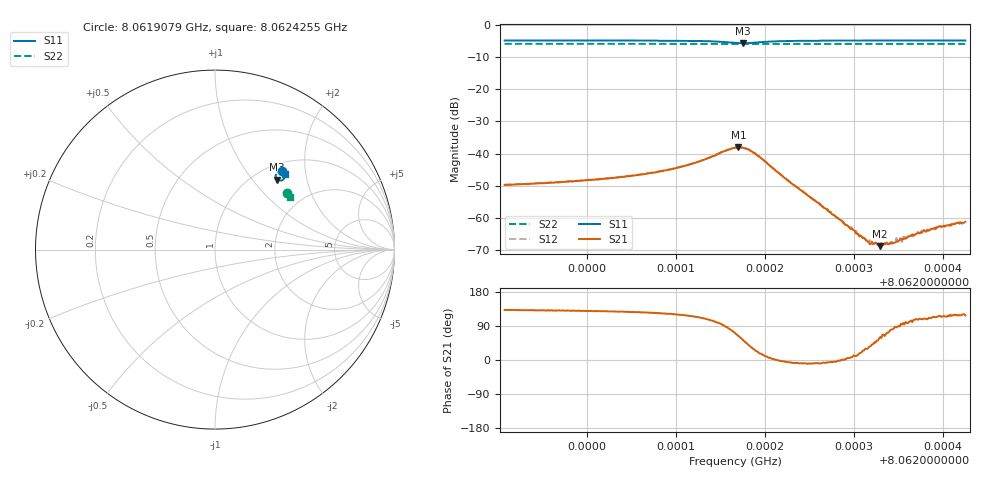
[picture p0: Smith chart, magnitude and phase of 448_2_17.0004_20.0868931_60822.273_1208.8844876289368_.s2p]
#  HZ  S  RI  R  50.00
! Rohde & Schwarz Vector Network Analyzer
! Rohde-Schwarz,ZNB20-2Port,1311601062101988,3.16
! Created: UTC 3/20/2024, 11:12:09 PM
! freq[Hz]  re:S11  im:S11  re:S21  im:S21  re:S12  im:S12  re:S22  im:S22
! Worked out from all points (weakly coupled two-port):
!   401 points, 8.0619079 GHz to 8.0624255 GHz, reference 50 ohm
!   highest |S21| = -38.03 dB at 8.0621706 GHz (marker M1); lowest = -68.9 dB at 8.0623297 GHz (marker M2)
!   lowest |S11| = -5.6 dB at 8.0621758 GHz (marker M3), VSWR 3.19, Z = 62.8 + j67.4 ohm
!   |S11| at or under -10 dB: nowhere
!   |S22| runs from -5.9 to -5.8 dB; largest |S21 - S12| = 0.00087
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8.06190792e9  0.3711 0.4405  -0.00218 0.00241  -0.00203 0.00253  0.4 0.3168
8.06199462e9  0.3776 0.4346  -0.0024 0.00293  -0.00226 0.00308  0.4034 0.3125
8.06203732e9  0.3811 0.4307  -0.00261 0.00339  -0.00245 0.00358  0.4049 0.3102
8.06208131e9  0.3853 0.4245  -0.0029 0.00437  -0.00265 0.00457  0.4065 0.3079
8.06211883e9  0.3889 0.4142  -0.00299 0.00628  -0.00263 0.0065  0.4078 0.3054
8.0621667e9  0.3633 0.3841  0.0039 0.0116  0.00476 0.0115  0.4078 0.3022
8.06217059e9  0.3561 0.3853  0.00559 0.0112  0.00624 0.0109  0.4076 0.3022
8.06217576e9  0.3469 0.3903  0.00756 0.00976  0.0081 0.00933  0.4074 0.3024
8.0621887e9  0.3381 0.4121  0.00908 0.00462  0.00942 0.00404  0.4078 0.3028
8.06222752e9  0.3613 0.4354  0.00364 -0.000403  0.00365 -0.000614  0.4107 0.3016
8.0622534e9  0.3704 0.4349  0.00197 -0.000301  0.00193 -0.000455  0.4119 0.3002
8.06230645e9  0.38 0.431  0.000486 0.000156  0.000535 0.000112  0.414 0.2974
8.0623168e9  0.3813 0.4303  0.000353 0.000231  0.000416 0.000223  0.4144 0.2969
8.06232456e9  0.3821 0.4297  0.000286 0.000294  0.000303 0.00027  0.4147 0.2964
8.06232974e9  0.3828 0.4293  0.000179 0.000313  0.000202 0.000317  0.4148 0.2962
8.06234009e9  0.3838 0.4287  0.0001 0.000382  0.000127 0.000376  0.415 0.2956
8.06234656e9  0.3844 0.4283  1.76e-05 0.000411  6.52e-05 0.000407  0.4154 0.2954
8.06236597e9  0.3862 0.427  -9.77e-05 0.000542  -0.000116 0.000499  0.4161 0.2943
8.06237373e9  0.3869 0.4264  -0.000187 0.000544  -0.000113 0.000562  0.4165 0.2939
8.06238149e9  0.3875 0.426  -0.000203 0.000588  -0.000168 0.000577  0.4168 0.2935
8.06239443e9  0.3886 0.4253  -0.000301 0.000651  -0.000246 0.000701  0.4173 0.2928
8.06242548e9  0.391 0.4233  -0.000405 0.000766  -0.000381 0.000791  0.4182 0.2912
